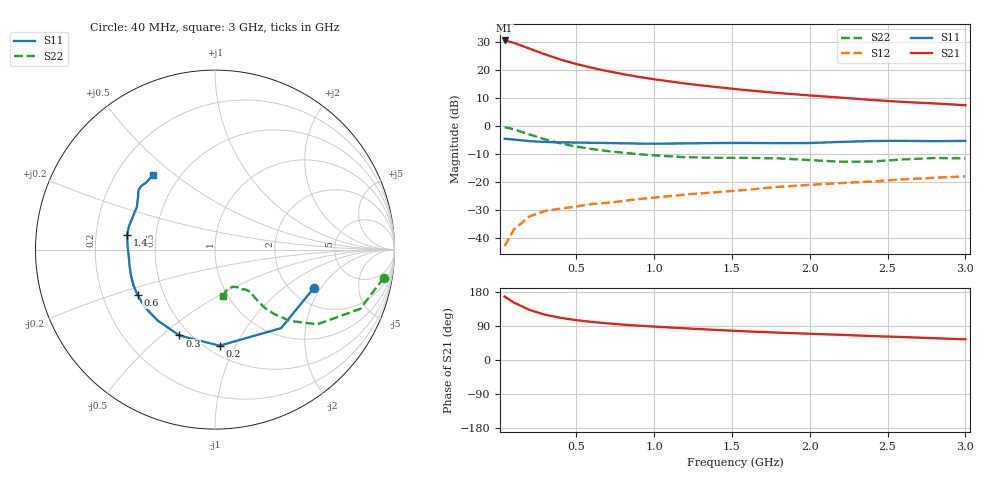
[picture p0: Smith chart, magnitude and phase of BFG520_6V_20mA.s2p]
! Filename:  BFG520K.S2P  Version:  2.1
! Philips part #: BFG520  Date: Feb 1992
! Bias condition: Vce=6V, Ic=20mA
! IN LINE PINNING: same data as with cross emitter pinning.
#  MHz  S  MA  R  50
! Freq  S11  S21  S12  S22  !GUM [dB]
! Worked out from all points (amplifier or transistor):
!   21 points, 40 MHz to 3 GHz, reference 50 ohm
!   highest |S21| = 30.7 dB at 40 MHz (marker M1)
!   |S21| within 3 dB of that: start of sweep to 203.7 MHz
!   unconditionally stable (mu >= 1): 976.8 MHz to end of sweep
!   at 300 MHz: K = 0.46, MSG = 28.1 dB, |S12| = -30.5 dB
!   at 1 GHz: K = 1.01, MAG = 20.6 dB, |S12| = -25.7 dB
!   at 3 GHz: K = 1.22, MAG = 10.0 dB, |S12| = -18.1 dB
!   lowest NFmin = 1.45 dB at 500 MHz
!   S11 on the Smith chart (normalised r, x): 40 MHz: 2.66, -1.73; 200 MHz: 0.58, -0.87; 300 MHz: 0.44, -0.57; 600 MHz: 0.36, -0.24; 1.4 GHz: 0.34, +0.07; 3 GHz: 0.36, +0.42
40  0.592 -20.9  34.28 167.4  0.007 78.3  0.953 -9.5
100  0.572 -49.9  31.04 151.5  0.014 70.8  0.874 -22.2
200  0.536 -87.3  24.48 132.1  0.024 59.1  0.706 -36.1
300  0.518 -112.5  19.3 119.4  0.03 53.3  0.576 -43.6
400  0.508 -129.0  15.55 111.2  0.033 52.2  0.488 -47.4
500  0.506 -140.8  12.98 105.2  0.036 51.5  0.428 -49.4
600  0.5 -149.6  11.09 100.5  0.04 52.5  0.387 -50.1
700  0.496 -156.3  9.666 96.7  0.042 53.6  0.356 -50.3
800  0.49 -162.7  8.549 93.4  0.045 55.7  0.333 -50.3
900  0.485 -168.6  7.631 90.6  0.049 57.7  0.313 -50.5
1000  0.482 -173.7  6.909 88.2  0.052 58.5  0.298 -50.9
1200  0.488 177.1  5.79 83.6  0.059 60.8  0.276 -53.2
1400  0.496 170.4  5.002 79.3  0.065 61.9  0.269 -56.0
1600  0.497 164.8  4.374 75.5  0.072 64.3  0.268 -57.0
1800  0.493 158.1  3.91 72.2  0.081 64.6  0.263 -57.2
2000  0.496 151.4  3.537 69.3  0.088 66.0  0.245 -58.9
2200  0.519 145.7  3.233 66.4  0.095 65.7  0.229 -64.6
2400  0.539 142.3  2.936 63.1  0.101 67.1  0.231 -72.8
2600  0.543 139.4  2.705 60.6  0.111 67.1  0.252 -78.3
2800  0.535 135.4  2.542 57.5  0.118 66.0  0.267 -79.3
3000  0.541 129.7  2.367 54.6  0.125 66.9  0.263 -79.7
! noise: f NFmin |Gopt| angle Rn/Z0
500  1.45  0.204  28  0.25
900  1.6  0.183  56  0.26
1000  1.65  0.19  61  0.27
2000  2.2  0.216  156  0.17
